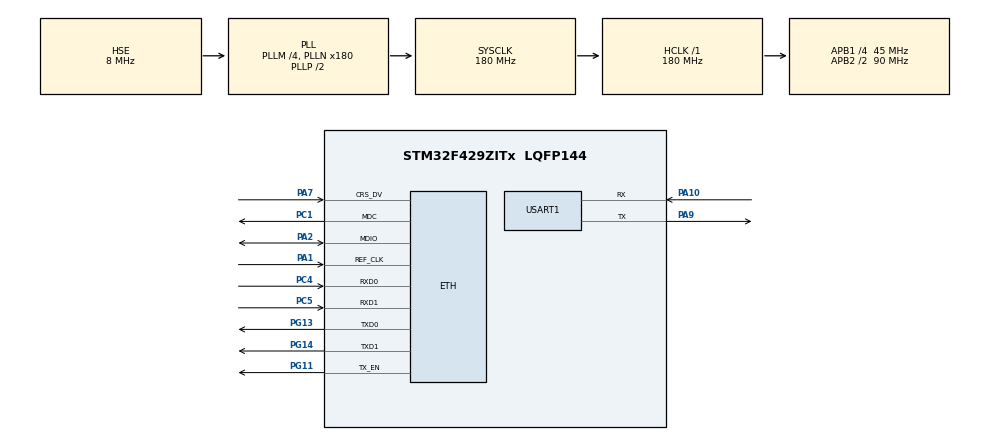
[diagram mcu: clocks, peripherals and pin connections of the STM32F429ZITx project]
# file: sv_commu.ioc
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ETH.MediaInterface=HAL_ETH_RMII_MODE
FREERTOS.Tasks01=defaultTask,24,2048,StartDefaultTask,Default,NULL,Dynamic,NULL,NULL
FREERTOS.configUSE_NEWLIB_REENTRANT=1
LWIP.BSP.number=1
LWIP.LWIP_DHCP=1
LWIP.MEMP_NUM_PBUF=32
LWIP.MEMP_NUM_TCP_SEG=32
LWIP.MEM_SIZE=32000
LWIP.PBUF_POOL_BUFSIZE=1524
LWIP.TCP_MSS=1460
LWIP.TCP_SND_BUF=5840
LWIP.TCP_SND_QUEUELEN=17
LWIP.Version=v2.1.2_Cube
LWIP0.BSP.STBoard=false
LWIP0.BSP.api=BSP_COMPONENT_DRIVER
LWIP0.BSP.component=DP83848
LWIP0.BSP.instance=DP83848
LWIP0.BSP.name=Driver_PHY
LWIP0.BSP.semaphore=S_DP83848
LWIP0.BSP.solution=DP83848
Mcu.Family=STM32F4
Mcu.Name=STM32F429ZITx
Mcu.Package=LQFP144
NVIC.ETH_IRQn=true\:5\:0\:false\:false\:true\:true\:false\:true\:true
NVIC.PriorityGroup=NVIC_PRIORITYGROUP_4
NVIC.TIM6_DAC_IRQn=true\:15\:0\:false\:false\:true\:false\:false\:true\:true
NVIC.TimeBase=TIM6_DAC_IRQn
NVIC.TimeBaseIP=TIM6
PA1.Mode=RMII
PA1.Signal=ETH_REF_CLK
PA10.Mode=Asynchronous
PA10.Signal=USART1_RX
PA13.Mode=Serial_Wire
PA13.Signal=SYS_JTMS-SWDIO
PA14.Mode=Serial_Wire
PA14.Signal=SYS_JTCK-SWCLK
PA2.Mode=RMII
PA2.Signal=ETH_MDIO
PA7.Mode=RMII
PA7.Signal=ETH_CRS_DV
PA9.Mode=Asynchronous
PA9.Signal=USART1_TX
PC1.Mode=RMII
PC1.Signal=ETH_MDC
PC4.Mode=RMII
PC4.Signal=ETH_RXD0
PC5.Mode=RMII
PC5.Signal=ETH_RXD1
PG11.Mode=RMII
PG11.Signal=ETH_TX_EN
PG13.Mode=RMII
PG13.Signal=ETH_TXD0
PG14.Mode=RMII
PG14.Signal=ETH_TXD1
PH0/OSC_IN.Mode=HSE-External-Oscillator
PH0/OSC_IN.Signal=RCC_OSC_IN
PH1/OSC_OUT.Mode=HSE-External-Oscillator
PH1/OSC_OUT.Signal=RCC_OSC_OUT
ProjectManager.HeapSize=0x200
ProjectManager.StackSize=0x400
ProjectManager.TargetToolchain=STM32CubeIDE
RCC.48MHZClocksFreq_Value=90000000
RCC.AHBFreq_Value=180000000
RCC.APB1CLKDivider=RCC_HCLK_DIV4
RCC.APB1Freq_Value=45000000
RCC.APB1TimFreq_Value=90000000
RCC.APB2CLKDivider=RCC_HCLK_DIV2
RCC.APB2Freq_Value=90000000
RCC.APB2TimFreq_Value=180000000
RCC.CortexFreq_Value=180000000
RCC.HCLKFreq_Value=180000000
RCC.HSE_VALUE=8000000
RCC.HSI_VALUE=16000000
RCC.LSE_VALUE=32768
RCC.PLLM=4
RCC.PLLN=180
RCC.PLLSourceVirtual=RCC_PLLSOURCE_HSE
RCC.SYSCLKFreq_VALUE=180000000
RCC.SYSCLKSource=RCC_SYSCLKSOURCE_PLLCLK
RCC.VCOOutputFreq_Value=360000000
USART1.VirtualMode=VM_ASYNC
VP_FREERTOS_VS_CMSIS_V2.Mode=CMSIS_V2
VP_LWIP_VS_Enabled.Mode=Enabled
VP_MBEDTLS_VS_MBEDTLS.Mode=Enabled
VP_SYS_VS_tim6.Mode=TIM6
board=custom

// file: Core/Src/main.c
/* USER CODE BEGIN Header */
/**
  ******************************************************************************
  * @file           : main.c
  * @brief          : Main program body
  ******************************************************************************
  * @attention
  *
  * Copyright (c) 2026 STMicroelectronics.
  * All rights reserved.
  *
  * This software is licensed under terms that can be found in the LICENSE file
  * in the root directory of this software component.
  * If no LICENSE file comes with this software, it is provided AS-IS.
  *
  ******************************************************************************
  */
/* USER CODE END Header */
#include "main.h"
#include "cmsis_os.h"
#include "mbedtls.h"

/* USER CODE BEGIN Includes */
#include <stdio.h>
#include <string.h>
#include "lwip/netif.h"
#include "lwip/ip4_addr.h"
#include "lwip/tcp.h"
#include "lwip.h"

/* USER CODE END Includes */

UART_HandleTypeDef huart1;

/* Definitions for defaultTask */
osThreadId_t defaultTaskHandle;
const osThreadAttr_t defaultTask_attributes = {
  .name = "defaultTask",
  .stack_size = 2048 * 4,
  .priority = (osPriority_t) osPriorityNormal,
};
/* USER CODE BEGIN PV */
extern UART_HandleTypeDef huart1;
extern struct netif gnetif;

/* USER CODE END PV */

void SystemClock_Config(void);
static void MX_GPIO_Init(void);
static void MX_USART1_UART_Init(void);
void StartDefaultTask(void *argument);

/* USER CODE BEGIN 0 */

static const char* dhcp_state_name(int s)
{
    switch (s) {
    case 0: return "OFF";
    case 1: return "REQUESTING";
    case 2: return "INIT";
    case 3: return "REBOOTING";
    case 4: return "REBINDING";
    case 5: return "RENEWING";
    case 6: return "SELECTING";
    case 7: return "INFORMING";
    case 8: return "CHECKING";
    case 9: return "PERMANENT";
    case 10:return "BOUND";
    default:return "UNKNOWN";
    }
}

static void print_net_status(void)
{
    printf("[NET] link=%d up=%d\r\n",
           netif_is_link_up(&gnetif),
           netif_is_up(&gnetif));

    printf("[NET] IP=%s\r\n", ip4addr_ntoa(netif_ip4_addr(&gnetif)));
    printf("[NET] MASK=%s\r\n", ip4addr_ntoa(netif_ip4_netmask(&gnetif)));
    printf("[NET] GW=%s\r\n", ip4addr_ntoa(netif_ip4_gw(&gnetif)));
}

static void print_dhcp_status(void)
{
    struct dhcp *d = netif_dhcp_data(&gnetif);
    int state = d ? d->state : -1;
    printf("[DHCP] supplied=%d state=%d(%s) tries=%d\r\n",
           dhcp_supplied_address(&gnetif) ? 1 : 0,
           state, dhcp_state_name(state),
           d ? d->tries : -1);
}
static int dhcp_start_and_wait(uint32_t timeout_ms)
{
    uint32_t start = sys_now();

    printf("[DHCP] start\r\n");
    dhcp_start(&gnetif);

    while ((sys_now() - start) < timeout_ms)
    {
        print_dhcp_status();
        print_net_status();

        // IP가 할당됐는지 확인
        if (dhcp_supplied_address(&gnetif) &&
            !ip4_addr_isany_val(*netif_ip4_addr(&gnetif)))
        {
            printf("[DHCP] OK\r\n");
            return 0;
        }

        sys_msleep(500);
    }

    printf("[DHCP] TIMEOUT\r\n");
    return -1;
}

int _write(int file, char *ptr, int len)
{
    HAL_UART_Transmit(&huart1, (uint8_t *)ptr, len, HAL_MAX_DELAY);
    return len;
}

/* USER CODE END 0 */

int main(void)
{

  /* MCU Configuration--------------------------------------------------------*/

  /* Reset of all peripherals, Initializes the Flash interface and the Systick. */
  HAL_Init();

  /* Configure the system clock */
  SystemClock_Config();

  /* Initialize all configured peripherals */
  MX_GPIO_Init();
  MX_USART1_UART_Init();
  /* Call PreOsInit function */
  MX_MBEDTLS_Init();

  /* Init scheduler */
  osKernelInitialize();

  /* Create the thread(s) */
  /* creation of defaultTask */
  defaultTaskHandle = osThreadNew(StartDefaultTask, NULL, &defaultTask_attributes);

  /* Start scheduler */
  osKernelStart();

  /* We should never get here as control is now taken by the scheduler */

  /* Infinite loop */
  while (1)
  {

  }
}

void SystemClock_Config(void)
{
  RCC_OscInitTypeDef RCC_OscInitStruct = {0};
  RCC_ClkInitTypeDef RCC_ClkInitStruct = {0};

  /** Configure the main internal regulator output voltage
  */
  __HAL_RCC_PWR_CLK_ENABLE();
  __HAL_PWR_VOLTAGESCALING_CONFIG(PWR_REGULATOR_VOLTAGE_SCALE1);

  /** Initializes the RCC Oscillators according to the specified parameters
  * in the RCC_OscInitTypeDef structure.
  */
  RCC_OscInitStruct.OscillatorType = RCC_OSCILLATORTYPE_HSE;
  RCC_OscInitStruct.HSEState = RCC_HSE_ON;
  RCC_OscInitStruct.PLL.PLLState = RCC_PLL_ON;
  RCC_OscInitStruct.PLL.PLLSource = RCC_PLLSOURCE_HSE;
  RCC_OscInitStruct.PLL.PLLM = 4;
  RCC_OscInitStruct.PLL.PLLN = 180;
  RCC_OscInitStruct.PLL.PLLP = RCC_PLLP_DIV2;
  RCC_OscInitStruct.PLL.PLLQ = 4;
  if (HAL_RCC_OscConfig(&RCC_OscInitStruct) != HAL_OK)
  {
    Error_Handler();
  }

  /** Activate the Over-Drive mode
  */
  if (HAL_PWREx_EnableOverDrive() != HAL_OK)
  {
    Error_Handler();
  }

  /** Initializes the CPU, AHB and APB buses clocks
  */
  RCC_ClkInitStruct.ClockType = RCC_CLOCKTYPE_HCLK|RCC_CLOCKTYPE_SYSCLK
                              |RCC_CLOCKTYPE_PCLK1|RCC_CLOCKTYPE_PCLK2;
  RCC_ClkInitStruct.SYSCLKSource = RCC_SYSCLKSOURCE_PLLCLK;
  RCC_ClkInitStruct.AHBCLKDivider = RCC_SYSCLK_DIV1;
  RCC_ClkInitStruct.APB1CLKDivider = RCC_HCLK_DIV4;
  RCC_ClkInitStruct.APB2CLKDivider = RCC_HCLK_DIV2;

  if (HAL_RCC_ClockConfig(&RCC_ClkInitStruct, FLASH_LATENCY_5) != HAL_OK)
  {
    Error_Handler();
  }
}

static void MX_USART1_UART_Init(void)
{

  huart1.Instance = USART1;
  huart1.Init.BaudRate = 115200;
  huart1.Init.WordLength = UART_WORDLENGTH_8B;
  huart1.Init.StopBits = UART_STOPBITS_1;
  huart1.Init.Parity = UART_PARITY_NONE;
  huart1.Init.Mode = UART_MODE_TX_RX;
  huart1.Init.HwFlowCtl = UART_HWCONTROL_NONE;
  huart1.Init.OverSampling = UART_OVERSAMPLING_16;
  if (HAL_UART_Init(&huart1) != HAL_OK)
  {
    Error_Handler();
  }

}

static void MX_GPIO_Init(void)
{

  /* GPIO Ports Clock Enable */
  __HAL_RCC_GPIOH_CLK_ENABLE();
  __HAL_RCC_GPIOC_CLK_ENABLE();
  __HAL_RCC_GPIOA_CLK_ENABLE();
  __HAL_RCC_GPIOG_CLK_ENABLE();

}

void StartDefaultTask(void *argument)
{
  /* USER CODE BEGIN 5 */
	printf("\r\n==============================\r\n");
	printf("DefaultTask start\r\n");
	printf("Calling MX_LWIP_Init()\r\n");
	printf("==============================\r\n");

	MX_LWIP_Init();

	printf("[LwIP] init complete\r\n");
	print_net_status();

	// DHCP 받고 IP 확인
	dhcp_start_and_wait(10000);

  /* Infinite loop */
  for(;;)
  {

	  osDelay(1000);
  }
  /* USER CODE END 5 */
}

void HAL_TIM_PeriodElapsedCallback(TIM_HandleTypeDef *htim)
{
  if (htim->Instance == TIM6)
  {
    HAL_IncTick();
  }
}

void Error_Handler(void)
{
  __disable_irq();
  while (1)
  {
  }
}
